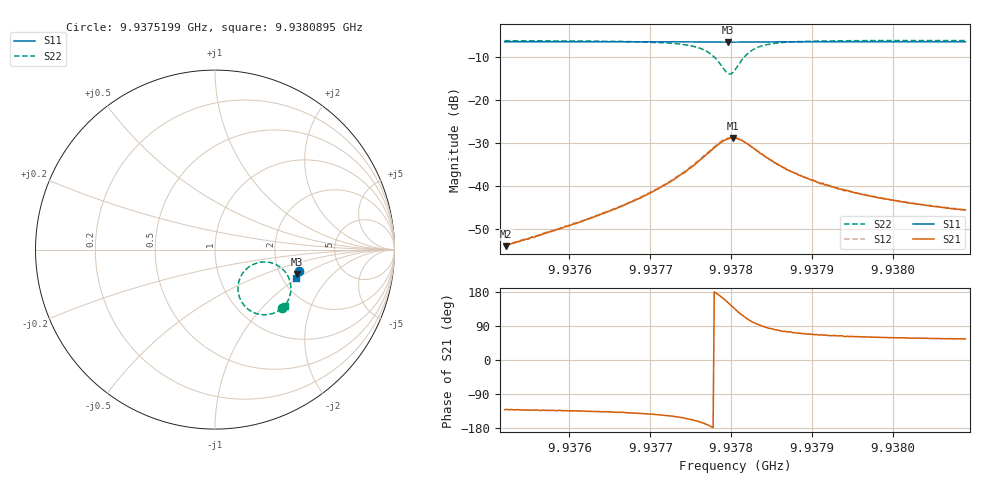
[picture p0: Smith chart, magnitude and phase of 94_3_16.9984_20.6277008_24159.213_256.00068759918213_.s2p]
#  HZ  S  RI  R  50.00
! Rohde & Schwarz Vector Network Analyzer
! Rohde-Schwarz,ZNB20-2Port,1311601062101988,3.16
! Created: UTC 3/20/2024, 10:56:16 PM
! freq[Hz]  re:S11  im:S11  re:S21  im:S21  re:S12  im:S12  re:S22  im:S22
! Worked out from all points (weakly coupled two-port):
!   401 points, 9.9375199 GHz to 9.9380895 GHz, reference 50 ohm
!   highest |S21| = -28.74 dB at 9.9378019 GHz (marker M1); lowest = -53.9 dB at 9.9375214 GHz (marker M2)
!   lowest |S11| = -6.4 dB at 9.9377962 GHz (marker M3), VSWR 2.82, Z = 123 - j43.7 ohm
!   |S11| at or under -10 dB: nowhere
!   |S22| runs from -13.9 to -6.0 dB; largest |S21 - S12| = 0.0019
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9.93751994e9  0.4671 -0.1206  -0.00135 -0.00155  -0.00137 -0.00154  0.372 -0.3279
9.93752136e9  0.4672 -0.1207  -0.00131 -0.00154  -0.00139 -0.00153  0.3718 -0.3278
9.93761534e9  0.4649 -0.127  -0.00273 -0.00277  -0.00288 -0.00279  0.3543 -0.3403
9.93766376e9  0.4638 -0.1305  -0.00434 -0.00388  -0.0045 -0.00387  0.3376 -0.3495
9.93771075e9  0.4621 -0.1338  -0.00775 -0.00549  -0.00799 -0.00546  0.3059 -0.3601
9.9377435e9  0.4607 -0.1362  -0.0132 -0.00643  -0.0138 -0.00644  0.2574 -0.3623
9.93776486e9  0.4595 -0.1375  -0.0208 -0.00517  -0.0216 -0.00487  0.1969 -0.3407
9.93777768e9  0.4582 -0.1381  -0.0275 -0.000636  -0.0282 0.000256  0.1499 -0.2933
9.93778764e9  0.4573 -0.1378  -0.0317 0.0074  -0.0324 0.00868  0.1279 -0.2214
9.93779619e9  0.4568 -0.1373  -0.0312 0.0171  -0.0315 0.019  0.1474 -0.1429
9.93780188e9  0.457 -0.1368  -0.0281 0.0234  -0.0274 0.0251  0.1859 -0.0989
9.93780473e9  0.4572 -0.1367  -0.0256 0.026  -0.0247 0.0277  0.2106 -0.0837
9.93781185e9  0.4578 -0.1366  -0.018 0.0299  -0.0167 0.0308  0.2765 -0.0686
9.93781897e9  0.4585 -0.1368  -0.0107 0.03  -0.00953 0.0303  0.3322 -0.0801
9.93782609e9  0.4589 -0.1373  -0.00523 0.028  -0.00432 0.0284  0.3711 -0.1039
9.93783463e9  0.4594 -0.1381  -0.00125 0.0249  -0.000199 0.0249  0.3988 -0.1355
9.93784745e9  0.4596 -0.1395  0.00239 0.0204  0.00297 0.0204  0.417 -0.1756
9.93786596e9  0.4594 -0.1411  0.00405 0.0159  0.00438 0.0156  0.4228 -0.2155
9.93790014e9  0.4588 -0.144  0.0045 0.0108  0.0047 0.0109  0.4174 -0.2558
9.93793716e9  0.4579 -0.1466  0.00402 0.00828  0.00424 0.00808  0.4092 -0.2784
9.93799554e9  0.4564 -0.1506  0.0036 0.00601  0.00373 0.00604  0.399 -0.2975
9.93808953e9  0.4539 -0.1568  0.003 0.00438  0.00314 0.00439  0.3873 -0.3141
